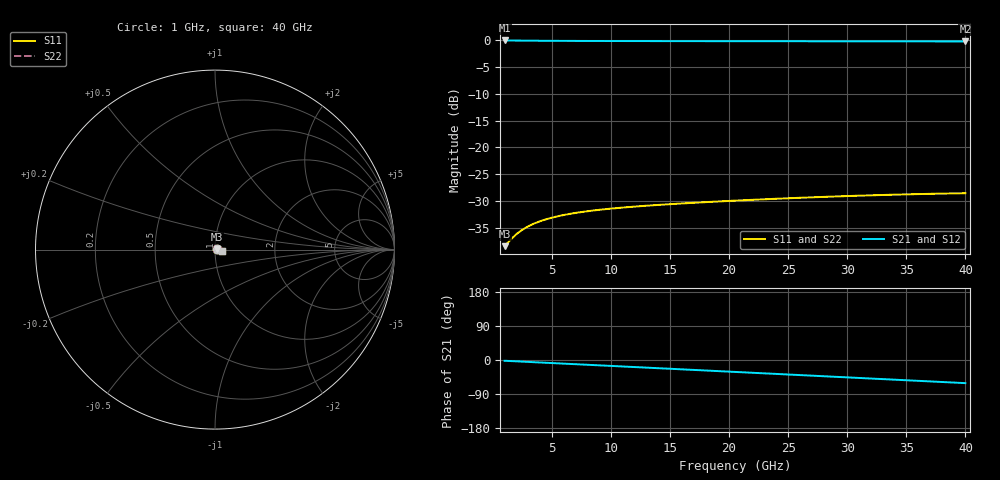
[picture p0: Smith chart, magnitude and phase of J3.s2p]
! Created with skrf 1.13.0 (http://scikit-rf.org).
# Hz S RI R 50.0
! Port[1] = p1
! Port[2] = p2
!freq ReS11 ImS11 ReS21 ImS21 ReS12 ImS12 ReS22 ImS22
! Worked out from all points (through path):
!   79 points, 1 GHz to 40 GHz, reference 50 ohm
!   highest |S21| = -0.12 dB at 1 GHz (marker M1); lowest = -0.3 dB at 40 GHz (marker M2)
!   group delay of S21, straight-line fit = 4.2 ps
!   lowest |S11| = -38.3 dB at 1 GHz (marker M3), VSWR 1.02, Z = 51.2 + j0.0907 ohm
!   |S11| at or under -10 dB: start of sweep to end of sweep
!   |S22| runs from -38.3 to -28.5 dB; largest |S21 - S12| = 8.2e-07
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1e9  0.0121 0.000885  0.9852 -0.0347  0.9852 -0.0347  0.0121 0.000885
1.5e9  0.0134 0.00362  0.9834 -0.0474  0.9834 -0.0474  0.0134 0.00362
2e9  0.0148 0.00515  0.9815 -0.0604  0.9815 -0.0604  0.0148 0.00515
2.5e9  0.0161 0.00609  0.9794 -0.0734  0.9794 -0.0734  0.0161 0.00609
3e9  0.0173 0.0067  0.9773 -0.0864  0.9773 -0.0864  0.0173 0.0067
3.5e9  0.0183 0.0071  0.9752 -0.0992  0.9752 -0.0992  0.0183 0.0071
4e9  0.0193 0.00735  0.973 -0.112  0.973 -0.112  0.0193 0.00735
4.5e9  0.0201 0.0075  0.9707 -0.1247  0.9707 -0.1247  0.0201 0.0075
5e9  0.0209 0.00757  0.9683 -0.1374  0.9683 -0.1374  0.0209 0.00757
6e9  0.0223 0.00756  0.9633 -0.1626  0.9633 -0.1626  0.0223 0.00756
7.5e9  0.024 0.00731  0.9548 -0.2001  0.9548 -0.2001  0.024 0.00731
9e9  0.0254 0.00693  0.9452 -0.2373  0.9452 -0.2373  0.0254 0.00693
1.05e10  0.0265 0.00648  0.9343 -0.2742  0.9343 -0.2742  0.0265 0.00648
1.4e10  0.0287 0.00531  0.9038 -0.3584  0.9038 -0.3584  0.0287 0.00531
1.7e10  0.0303 0.00419  0.8719 -0.4284  0.8719 -0.4284  0.0303 0.00419
2.05e10  0.0319 0.00271  0.8278 -0.5065  0.8278 -0.5065  0.0319 0.00272
2.35e10  0.0332 0.00125  0.7844 -0.5701  0.7844 -0.5701  0.0331 0.00126
2.7e10  0.0344 -0.00069  0.7277 -0.6396  0.7277 -0.6396  0.0344 -0.000678
3.05e10  0.0354 -0.00289  0.6648 -0.7036  0.6648 -0.7036  0.0353 -0.00288
3.35e10  0.0359 -0.00497  0.6063 -0.7535  0.6063 -0.7535  0.0359 -0.00495
3.7e10  0.0363 -0.00757  0.5335 -0.8056  0.5335 -0.8056  0.0363 -0.00755
4e10  0.0362 -0.00991  0.4674 -0.8447  0.4674 -0.8447  0.0362 -0.00988
